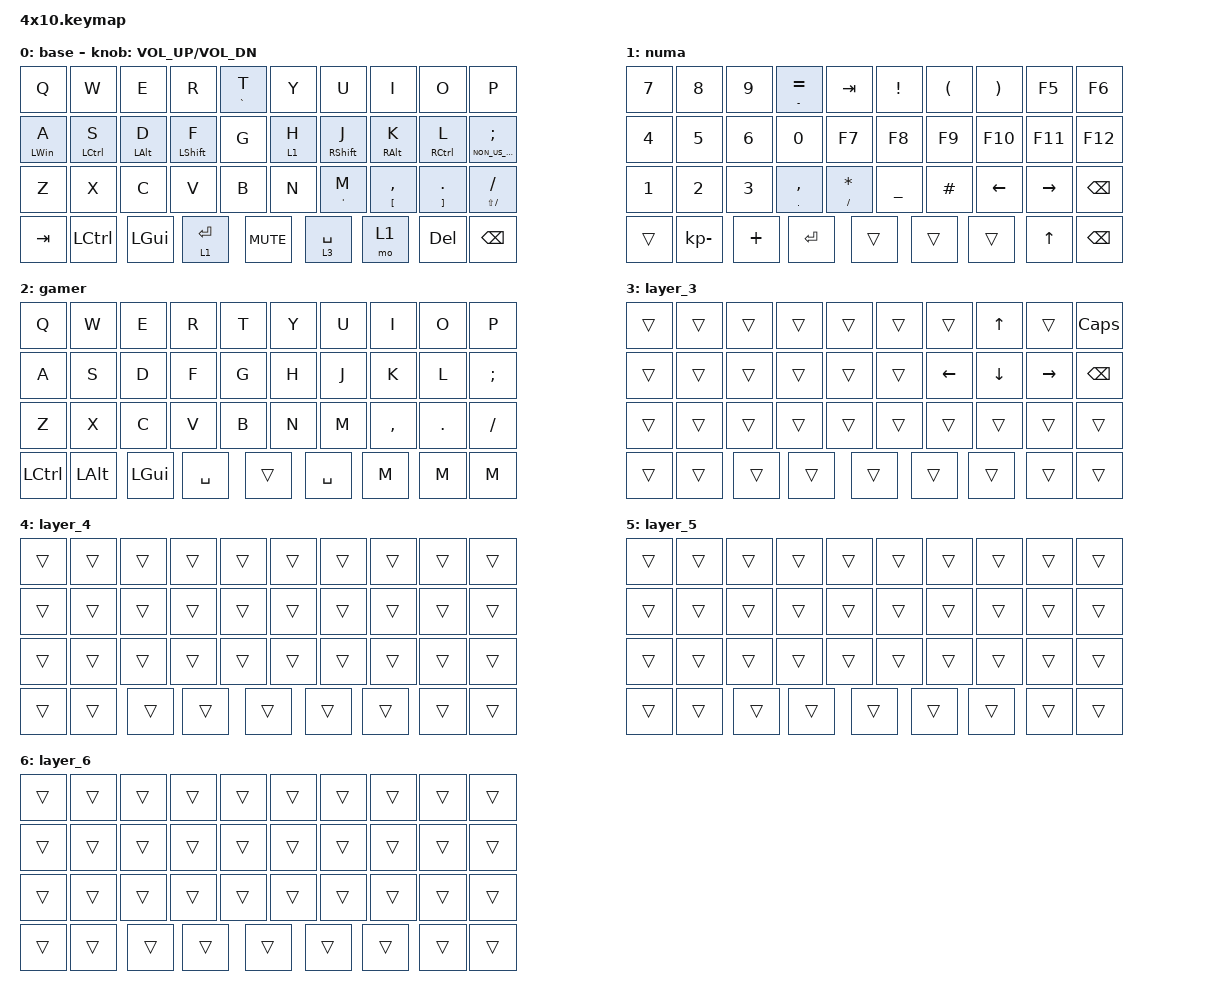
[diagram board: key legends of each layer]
#include <behaviors.dtsi>
#include <dt-bindings/zmk/keys.h>

#define DEFAULT 0
#define NUMPAD 1
#define BLT 2

/ {
    combos {
        compatible = "zmk,combos";

        rightparant {
            bindings = <&kp RIGHT_PARENTHESIS>;
            key-positions = <8 7>;
            layers = <0>;
        };

        leftparant {
            bindings = <&kp LEFT_PARENTHESIS>;
            key-positions = <7 6>;
            layers = <0>;
        };

        question {
            bindings = <&kp LS(N7)>;
            key-positions = <8 9>;
        };

        esc {
            bindings = <&kp ESCAPE>;
            key-positions = <0 1>;
        };

        togame {
            bindings = <&to 2>;
            key-positions = <9 38>;
        };

        tobase {
            bindings = <&to 0>;
            key-positions = <29 19>;
        };

        backspace {
            bindings = <&kp BACKSPACE>;
            key-positions = <1 2>;
            layers = <1>;
        };

        tonumalong {
            bindings = <&to 1>;
            key-positions = <30 31>;
            layers = <0>;
        };

        tobasefromnuma {
            bindings = <&to 0>;
            key-positions = <30 31>;
            layers = <1>;
        };
    };

    behaviors {
        hrm: hrm {
            compatible = "zmk,behavior-hold-tap";
            label = "HRM";
            #binding-cells = <2>;
            tapping-term-ms = <200>;
            quick-tap-ms = <175>;
            flavor = "balanced";
            require-prior-idle-ms = <150>;
            hold-trigger-on-release;
            bindings = <&kp>, <&kp>;
        };

        modtap: modtap {
            compatible = "zmk,behavior-hold-tap";
            label = "MODTAP";
            #binding-cells = <2>;
            tapping-term-ms = <250>;
            bindings = <&mo>, <&kp>;

            quick-tap-ms = <150>;
            require-prior-idle-ms = <175>;
            flavor = "balanced";
        };
    };

    keymap {
        compatible = "zmk,keymap";

        base_layer {
            bindings = <
&kp Q            &kp W         &kp E            &kp R              &hrm GRAVE T  &kp Y        &kp U               &kp I                    &kp O                   &kp P
&hrm LEFT_WIN A  &hrm LCTRL S  &hrm LEFT_ALT D  &hrm LEFT_SHIFT F  &kp G         &modtap 1 H  &hrm RIGHT_SHIFT J  &hrm RIGHT_ALT K         &hrm RCTRL L            &hrm NON_US_BACKSLASH SEMI
&kp Z            &kp X         &kp C            &kp V              &kp B         &kp N        &hrm SQT M          &hrm LEFT_BRACKET COMMA  &hrm RIGHT_BRACKET DOT  &hrm LS(SLASH) SLASH
&kp TAB          &kp LCTRL     &kp LGUI         &modtap 1 ENTER    &kp C_MUTE                 &modtap 3 SPACE     &mo 1                    &kp DELETE              &kp BACKSPACE
            >;

            sensor-bindings = <&inc_dec_kp C_VOL_UP C_VOL_DN>;
            label = "base";
        };

        numa {
            bindings = <
&kp N7  &kp N8        &kp N9    &hrm MINUS EQUAL   &kp TAB              &kp EXCLAMATION  &kp LEFT_PARENTHESIS  &kp RIGHT_PARENTHESIS  &kp F5           &kp F6
&kp N4  &kp N5        &kp N6    &kp N0             &kp F7               &kp F8           &kp F9                &kp F10                &kp F11          &kp F12
&kp N1  &kp N2        &kp N3    &hrm PERIOD COMMA  &hrm SLASH ASTERISK  &kp UNDER        &kp HASH              &kp LEFT_ARROW         &kp RIGHT_ARROW  &kp BACKSPACE
&trans  &kp KP_MINUS  &kp PLUS  &kp ENTER          &trans                                &trans                &trans                 &kp UP_ARROW     &kp BACKSPACE
            >;
        };

        gamer {
            bindings = <
&kp Q      &kp W     &kp E     &kp R      &kp T   &kp Y  &kp U      &kp I      &kp O    &kp P
&kp A      &kp S     &kp D     &kp F      &kp G   &kp H  &kp J      &kp K      &kp L    &kp SEMI
&kp Z      &kp X     &kp C     &kp V      &kp B   &kp N  &kp M      &kp COMMA  &kp DOT  &kp FSLH
&kp LCTRL  &kp LALT  &kp LGUI  &kp SPACE  &trans         &kp SPACE  &kp M      &kp M    &kp M
            >;
        };

        layer_3 {
            bindings = <
&trans  &trans  &trans  &trans  &trans  &trans  &trans    &kp UP_ARROW  &trans     &kp CAPS
&trans  &trans  &trans  &trans  &trans  &trans  &kp LEFT  &kp DOWN      &kp RIGHT  &kp BACKSPACE
&trans  &trans  &trans  &trans  &trans  &trans  &trans    &trans        &trans     &trans
&trans  &trans  &trans  &trans  &trans          &trans    &trans        &trans     &trans
            >;
        };

        layer_4 {
            bindings = <
&trans  &trans  &trans  &trans  &trans  &trans  &trans  &trans  &trans  &trans
&trans  &trans  &trans  &trans  &trans  &trans  &trans  &trans  &trans  &trans
&trans  &trans  &trans  &trans  &trans  &trans  &trans  &trans  &trans  &trans
&trans  &trans  &trans  &trans  &trans          &trans  &trans  &trans  &trans
            >;
        };

        layer_5 {
            bindings = <
&trans  &trans  &trans  &trans  &trans  &trans  &trans  &trans  &trans  &trans
&trans  &trans  &trans  &trans  &trans  &trans  &trans  &trans  &trans  &trans
&trans  &trans  &trans  &trans  &trans  &trans  &trans  &trans  &trans  &trans
&trans  &trans  &trans  &trans  &trans          &trans  &trans  &trans  &trans
            >;
        };

        layer_6 {
            bindings = <
&trans  &trans  &trans  &trans  &trans  &trans  &trans  &trans  &trans  &trans
&trans  &trans  &trans  &trans  &trans  &trans  &trans  &trans  &trans  &trans
&trans  &trans  &trans  &trans  &trans  &trans  &trans  &trans  &trans  &trans
&trans  &trans  &trans  &trans  &trans          &trans  &trans  &trans  &trans
            >;
        };
    };
};
